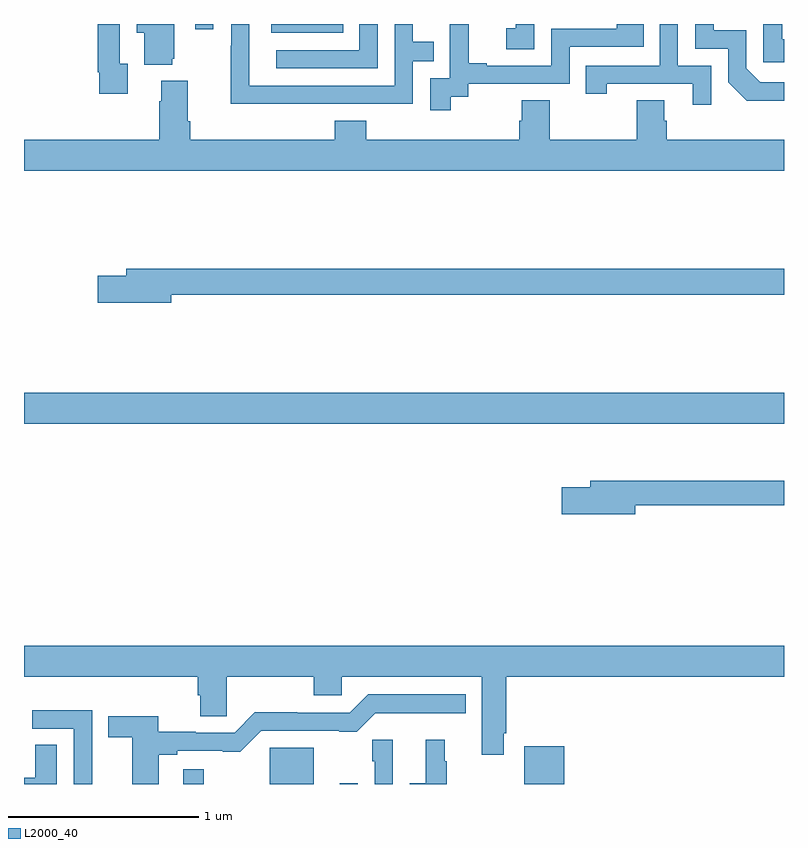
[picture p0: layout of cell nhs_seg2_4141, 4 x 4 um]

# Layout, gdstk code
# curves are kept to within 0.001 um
import gdstk
lib = gdstk.Library(unit=1e-6, precision=1e-09)
def R(c, l, rs):  # rectangles x0, y0, x1, y1
    for r in rs: c.add(gdstk.rectangle(r[:2], r[2:], *l))
def P(c, l, *ps):  # polygons
    for p in ps: c.add(gdstk.Polygon(p, *l))
L2000_40 = (2000, 40)

nhs_seg2_4141 = lib.new_cell('nhs_seg2_4141')
R(nhs_seg2_4141, L2000_40, [(335.838,585.8,335.947,585.877), (336.293,585.8,336.526,585.991), (336.662,585.8,336.756,585.805), (337.634,585.8,337.843,586), (335,587.696,339,587.86), (336.302,589.754,336.68,589.8), (335.901,589.773,335.997,589.8)])
P(nhs_seg2_4141, L2000_40, [(339,589.494),(338.874,589.494),(338.802,589.566),(338.802,589.767),(338.629,589.767),(338.629,589.8),(338.532,589.8),(338.532,589.671),(338.706,589.671),(338.706,589.494),(338.804,589.397),(339,589.397)],
  [(335.545,589.59),(335.505,589.59),(335.505,589.8),(335.389,589.8),(335.389,589.546),(335.397,589.546),(335.397,589.434),(335.545,589.434)],
  [(335.78,589.617),(335.791,589.617),(335.791,589.8),(335.594,589.8),(335.594,589.754),(335.633,589.754),(335.633,589.586),(335.78,589.586)],
  [(336.861,589.8),(336.765,589.8),(336.765,589.662),(336.327,589.662),(336.327,589.566),(336.861,589.566)],
  [(338.616,589.581),(338.442,589.581),(338.442,589.8),(338.346,589.8),(338.346,589.581),(337.957,589.581),(337.957,589.434),(338.068,589.434),(338.068,589.485),(338.519,589.485),(338.519,589.374),(338.616,589.374)],
  [(337.686,589.8),(337.588,589.8),(337.588,589.777),(337.539,589.777),(337.539,589.668),(337.686,589.668)],
  [(337.246,589.417),(337.338,589.417),(337.338,589.485),(337.872,589.485),(337.872,589.68),(338.261,589.68),(338.261,589.8),(338.121,589.8),(338.121,589.776),(337.776,589.776),(337.776,589.581),(337.435,589.581),(337.435,589.594),(337.34,589.594),(337.34,589.8),(337.241,589.8),(337.241,589.745),(337.242,589.745),(337.242,589.515),(337.137,589.515),(337.137,589.347),(337.246,589.347)],
  [(336.551,589.38),(337.047,589.38),(337.047,589.605),(337.157,589.605),(337.157,589.706),(337.047,589.706),(337.047,589.8),(336.951,589.8),(336.951,589.476),(336.186,589.476),(336.186,589.8),(336.09,589.8),(336.09,589.685),(336.088,589.685),(336.088,589.379),(336.551,589.379)],
  [(339,589.719),(338.99,589.719),(338.99,589.8),(338.892,589.8),(338.892,589.599),(339,589.599)],
  [(339,589.192),(338.384,589.192),(338.384,589.29),(338.371,589.29),(338.371,589.4),(338.224,589.4),(338.224,589.192),(337.767,589.192),(337.767,589.4),(337.619,589.4),(337.619,589.29),(337.607,589.29),(337.607,589.192),(336.8,589.192),(336.8,589.291),(336.635,589.291),(336.635,589.192),(335.876,589.192),(335.876,589.288),(335.863,589.288),(335.863,589.501),(335.723,589.501),(335.723,589.394),(335.711,589.394),(335.711,589.192),(335,589.192),(335,589.028),(339,589.028)],
  [(335.776,588.376),(339,588.376),(339,588.512),(335.537,588.512),(335.537,588.476),(335.388,588.476),(335.388,588.334),(335.776,588.334)],
  [(338.218,587.266),(339,587.266),(339,587.395),(337.979,587.395),(337.979,587.361),(337.83,587.361),(337.83,587.219),(338.218,587.219)],
  [(337.525,586.066),(337.538,586.066),(337.538,586.364),(339,586.364),(339,586.528),(335,586.528),(335,586.364),(335.915,586.364),(335.915,586.266),(335.927,586.266),(335.927,586.156),(336.066,586.156),(336.066,586.364),(336.526,586.364),(336.526,586.266),(336.672,586.266),(336.672,586.364),(337.409,586.364),(337.409,585.954),(337.525,585.954)],
  [(335.71,585.955),(335.806,585.955),(335.806,585.975),(336.047,585.975),(336.047,585.97),(336.139,585.97),(336.249,586.08),(336.659,586.08),(336.659,586.075),(336.751,586.075),(336.849,586.173),(337.324,586.172),(337.324,586.273),(336.811,586.273),(336.714,586.176),(336.437,586.176),(336.437,586.178),(336.215,586.178),(336.108,586.071),(335.904,586.071),(335.904,586.076),(335.707,586.076),(335.707,586.156),(335.443,586.156),(335.443,586.045),(335.57,586.045),(335.57,585.8),(335.71,585.8)],
  [(335.36,585.959),(335.358,585.959),(335.358,586.189),(335.043,586.189),(335.043,586.092),(335.262,586.092),(335.262,585.8),(335.36,585.8)],
  [(336.942,586.033),(336.834,586.033),(336.834,585.92),(336.846,585.92),(336.846,585.8),(336.942,585.8)],
  [(337.225,585.92),(337.214,585.92),(337.214,586.033),(337.115,586.033),(337.115,585.804),(337.031,585.804),(337.031,585.8),(337.225,585.8)],
  [(335.172,586.007),(335.06,586.007),(335.06,585.833),(335,585.833),(335,585.8),(335.172,585.8)])

lib.write_gds('nhs_seg2_4141.gds')
